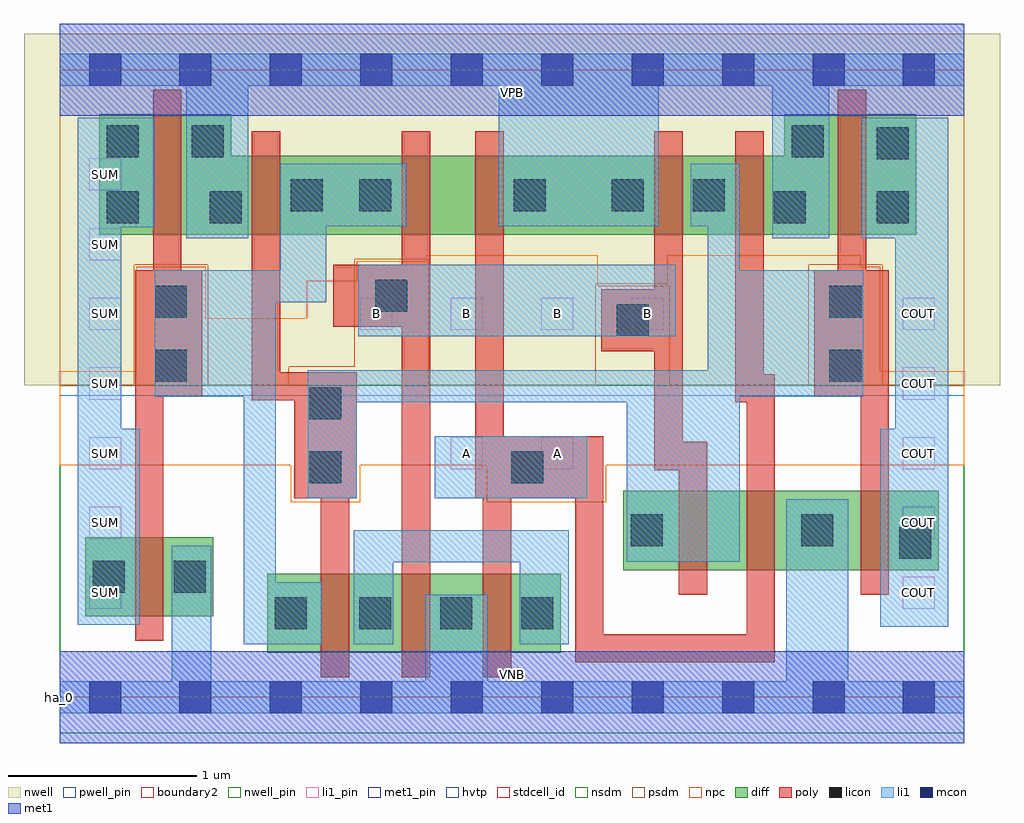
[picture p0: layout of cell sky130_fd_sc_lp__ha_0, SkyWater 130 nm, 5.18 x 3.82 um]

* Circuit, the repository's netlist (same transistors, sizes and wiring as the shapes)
* Copyright 2020 The SkyWater PDK Authors
*
* Licensed under the Apache License, Version 2.0 (the "License");
* you may not use this file except in compliance with the License.
* You may obtain a copy of the License at
*
*     https://www.apache.org/licenses/LICENSE-2.0
*
* Unless required by applicable law or agreed to in writing, software
* distributed under the License is distributed on an "AS IS" BASIS,
* WITHOUT WARRANTIES OR CONDITIONS OF ANY KIND, either express or implied.
* See the License for the specific language governing permissions and
* limitations under the License.
*
* SPDX-License-Identifier: Apache-2.0

.SUBCKT sky130_fd_sc_lp__ha_0 A B VGND VNB VPB VPWR COUT SUM
*.PININFO A:I B:I VGND:I VNB:I VPB:I VPWR:I COUT:O SUM:O
MMIN2 COUT majb VGND VNB sky130_fd_pr__nfet_01v8 m=1 w=0.42U l=0.15U mult=1 sa=0.265
+ sb=0.265 sd=0.28 area=0.063 perim=1.14
MMIN3 SUM sumb VGND VNB sky130_fd_pr__nfet_01v8 m=1 w=0.42U l=0.15U mult=1 sa=0.265
+ sb=0.265 sd=0.28 area=0.063 perim=1.14
MMNnand0 VGND A sndNA VNB sky130_fd_pr__nfet_01v8 m=1 w=0.42U l=0.15U mult=1 sa=0.265
+ sb=0.265 sd=0.28 area=0.063 perim=1.14
MMNnand1 sndNA B majb VNB sky130_fd_pr__nfet_01v8 m=1 w=0.42U l=0.15U mult=1 sa=0.265
+ sb=0.265 sd=0.28 area=0.063 perim=1.14
MMNs1 sumb majb nint1 VNB sky130_fd_pr__nfet_01v8 m=1 w=0.42U l=0.15U mult=1 sa=0.265
+ sb=0.265 sd=0.28 area=0.063 perim=1.14
MMNs20 VGND A nint1 VNB sky130_fd_pr__nfet_01v8 m=1 w=0.42U l=0.15U mult=1 sa=0.265
+ sb=0.265 sd=0.28 area=0.063 perim=1.14
MMNs21 VGND B nint1 VNB sky130_fd_pr__nfet_01v8 m=1 w=0.42U l=0.15U mult=1 sa=0.265
+ sb=0.265 sd=0.28 area=0.063 perim=1.14
MMIP2 COUT majb VPWR VPB sky130_fd_pr__pfet_01v8_hvt m=1 w=0.64U l=0.15U mult=1
+ sa=0.265 sb=0.265 sd=0.28 area=0.063 perim=1.14
MMIP3 SUM sumb VPWR VPB sky130_fd_pr__pfet_01v8_hvt m=1 w=0.64U l=0.15U mult=1
+ sa=0.265 sb=0.265 sd=0.28 area=0.063 perim=1.14
MMPnand0 majb A VPWR VPB sky130_fd_pr__pfet_01v8_hvt m=1 w=0.42U l=0.15U mult=1
+ sa=0.265 sb=0.265 sd=0.28 area=0.063 perim=1.14
MMPnand1 majb B VPWR VPB sky130_fd_pr__pfet_01v8_hvt m=1 w=0.42U l=0.15U mult=1
+ sa=0.265 sb=0.265 sd=0.28 area=0.063 perim=1.14
MMPs1 VPWR majb sumb VPB sky130_fd_pr__pfet_01v8_hvt m=1 w=0.42U l=0.15U mult=1
+ sa=0.265 sb=0.265 sd=0.28 area=0.063 perim=1.14
MMPs20 VPWR A sndPA VPB sky130_fd_pr__pfet_01v8_hvt m=1 w=0.42U l=0.15U mult=1
+ sa=0.265 sb=0.265 sd=0.28 area=0.063 perim=1.14
MMPs21 sndPA B sumb VPB sky130_fd_pr__pfet_01v8_hvt m=1 w=0.42U l=0.15U mult=1
+ sa=0.265 sb=0.265 sd=0.28 area=0.063 perim=1.14
.ENDS sky130_fd_sc_lp__ha_0

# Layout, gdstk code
import gdstk
lib = gdstk.Library(unit=1e-6, precision=1e-09)
def R(c, l, rs):  # rectangles x0, y0, x1, y1
    for r in rs: c.add(gdstk.rectangle(r[:2], r[2:], *l))
def A(c, l, x, y, w, h, nx, ny, dx, dy):  # array of equal rectangles
    R(c, l, [(x+i*dx, y+j*dy, x+i*dx+w, y+j*dy+h) for i in range(nx) for j in range(ny)])
def P(c, l, *ps):  # polygons
    for p in ps: c.add(gdstk.Polygon(p, *l))
nwell_pin = (64, 16)
nwell = (64, 20)
diff = (65, 20)
poly = (66, 20)
licon = (66, 44)
li1_pin = (67, 16)
li1 = (67, 20)
mcon = (67, 44)
met1_pin = (68, 16)
met1 = (68, 20)
hvtp = (78, 44)
stdcell_id = (81, 4)
nsdm = (93, 44)
psdm = (94, 20)
npc = (95, 20)
pwell_pin = (122, 16)
boundary2 = (236, 0)

sky130_fd_sc_lp__ha_0 = lib.new_cell('sky130_fd_sc_lp__ha_0')
R(sky130_fd_sc_lp__ha_0, nwell_pin, [(0,3.085,4.8,3.33)])
R(sky130_fd_sc_lp__ha_0, nwell, [(-0.19,1.655,4.99,3.52)])
R(sky130_fd_sc_lp__ha_0, diff, [(1.1,0.235,2.66,0.655), (0.135,0.43,0.815,0.85), (2.99,0.675,4.665,1.095)])
P(sky130_fd_sc_lp__ha_0, diff, [(4.545,3.095),(3.845,3.095),(3.845,2.875),(0.91,2.875),(0.91,3.095),(0.21,3.095),(0.21,2.455),(4.545,2.455)])
R(sky130_fd_sc_lp__ha_0, poly, [(1.815,2.295,1.965,3.005)])
P(sky130_fd_sc_lp__ha_0, poly, [(0.755,2.265),(0.645,2.265),(0.645,3.225),(0.495,3.225),(0.495,2.265),(0.4,2.265),(0.4,0.3),(0.55,0.3),(0.55,1.595),(0.755,1.595)],
  [(1.575,1.725),(1.17,1.725),(1.17,3.005),(1.02,3.005),(1.02,1.575),(1.245,1.575),(1.245,1.055),(1.385,1.055),(1.385,0.105),(1.535,0.105),(1.535,1.055),(1.575,1.055)],
  [(1.965,2.295),(1.45,2.295),(1.45,1.965),(1.815,1.965),(1.815,0.105),(1.965,0.105)],
  [(3.435,1.355),(3.305,1.355),(3.305,3.005),(3.155,3.005),(3.155,2.165),(2.875,2.165),(2.875,1.835),(3.155,1.835),(3.155,1.205),(3.285,1.205),(3.285,0.545),(3.435,0.545)],
  [(3.795,1.715),(3.735,1.715),(3.735,3.005),(3.585,3.005),(3.585,1.565),(3.645,1.565),(3.645,0.335),(2.885,0.335),(2.885,1.385),(2.355,1.385),(2.355,3.005),(2.205,3.005),(2.205,1.055),(2.245,1.055),(2.245,0.105),(2.395,0.105),(2.395,1.055),(2.735,1.055),(2.735,0.185),(3.795,0.185)],
  [(4.4,2.265),(4.28,2.265),(4.28,3.225),(4.13,3.225),(4.13,2.265),(4.005,2.265),(4.005,1.595),(4.25,1.595),(4.25,0.545),(4.4,0.545)])
A(sky130_fd_sc_lp__ha_0, licon, 1.59, 0.36, 0.17, 0.17, 3, 1, 0.43, 0)
R(sky130_fd_sc_lp__ha_0, licon, [(1.14,0.36,1.31,0.53), (0.175,0.555,0.345,0.725), (0.605,0.555,0.775,0.725), (4.455,0.735,4.625,0.905), (3.03,0.8,3.2,0.97), (3.935,0.8,4.105,0.97), (1.325,1.135,1.495,1.305), (2.395,1.135,2.565,1.305), (1.325,1.475,1.495,1.645), (0.505,1.675,0.675,1.845), (4.085,1.675,4.255,1.845), (2.955,1.915,3.125,2.085), (0.505,2.015,0.675,2.185), (4.085,2.015,4.255,2.185), (1.675,2.045,1.845,2.215), (0.25,2.515,0.42,2.685), (0.795,2.515,0.965,2.685), (3.79,2.515,3.96,2.685), (4.335,2.515,4.505,2.685), (1.225,2.58,1.395,2.75), (1.59,2.58,1.76,2.75), (2.41,2.58,2.58,2.75), (2.93,2.58,3.1,2.75), (3.36,2.58,3.53,2.75), (4.335,2.855,4.505,3.025), (0.25,2.865,0.42,3.035), (0.7,2.865,0.87,3.035), (3.885,2.865,4.055,3.035)])
A(sky130_fd_sc_lp__ha_0, li1_pin, 0.155, 0.47, 0.17, 0.17, 1, 7, 0, 0.37)
A(sky130_fd_sc_lp__ha_0, li1_pin, 4.475, 0.47, 0.17, 0.17, 1, 5, 0, 0.37)
A(sky130_fd_sc_lp__ha_0, li1_pin, 1.595, 1.95, 0.17, 0.17, 4, 1, 0.48, 0)
R(sky130_fd_sc_lp__ha_0, li1_pin, [(2.075,1.21,2.245,1.38), (2.555,1.21,2.725,1.38)])
R(sky130_fd_sc_lp__ha_0, li1, [(1.99,1.055,2.8,1.385), (1.585,1.915,3.27,2.295)])
P(sky130_fd_sc_lp__ha_0, li1, [(3.78,2.435),(3.78,3.245),(3.18,3.245),(3.18,2.5),(2.33,2.5),(2.33,3.245),(1,3.245),(1,2.435),(0.67,2.435),(0.67,3.245),(0,3.245),(0,3.415),(4.8,3.415),(4.8,3.245),(4.085,3.245),(4.085,2.435)],
  [(1.94,0.085),(1.94,0.545),(2.27,0.545),(2.27,0.085),(3.855,0.085),(3.855,1.05),(4.185,1.05),(4.185,0.085),(4.8,0.085),(4.8,-0.085),(0,-0.085),(0,0.085),(0.595,0.085),(0.595,0.805),(0.805,0.805),(0.805,0.085)],
  [(3.44,1.735),(3.44,2.5),(3.35,2.5),(3.35,2.83),(3.61,2.83),(3.61,2.265),(4.265,2.265),(4.265,1.595),(3.61,1.595),(3.61,0.72),(3.01,0.72),(3.01,1.565),(1.575,1.565),(1.575,1.055),(1.315,1.055),(1.315,1.735)],
  [(2.7,0.885),(2.7,0.28),(2.44,0.28),(2.44,0.715),(1.77,0.715),(1.77,0.28),(1.56,0.28),(1.56,0.885)],
  [(1.84,2.83),(1.17,2.83),(1.17,2.265),(0.505,2.265),(0.505,1.595),(0.975,1.595),(0.975,0.28),(1.39,0.28),(1.39,0.61),(1.145,0.61),(1.145,2.095),(1.415,2.095),(1.415,2.5),(1.84,2.5)],
  [(0.095,0.385),(0.095,3.075),(0.5,3.075),(0.5,2.495),(0.325,2.495),(0.325,1.425),(0.425,1.425),(0.425,0.385)],
  [(4.715,3.075),(4.255,3.075),(4.255,2.435),(4.435,2.435),(4.435,1.425),(4.355,1.425),(4.355,0.375),(4.715,0.375)])
A(sky130_fd_sc_lp__ha_0, mcon, 0.155, -0.085, 0.17, 0.17, 10, 2, 0.48, 3.33)
R(sky130_fd_sc_lp__ha_0, met1_pin, [(0,0,4.8,0.245), (0,3.085,4.8,3.33)])
R(sky130_fd_sc_lp__ha_0, met1, [(0,-0.245,4.8,0.245), (0,3.085,4.8,3.575)])
R(sky130_fd_sc_lp__ha_0, hvtp, [(0,1.6,4.8,3.33)])
R(sky130_fd_sc_lp__ha_0, stdcell_id, [(0,0,4.8,3.33)])
R(sky130_fd_sc_lp__ha_0, nsdm, [(0,-0.19,4.8,1.655)])
P(sky130_fd_sc_lp__ha_0, psdm, [(4.8,3.52),(0,3.52),(0,1.655),(0.395,1.655),(0.395,2.295),(0.785,2.295),(0.785,1.655),(1.215,1.655),(1.215,1.755),(1.565,1.755),(1.565,2.325),(1.955,2.325),(1.955,1.655),(2.845,1.655),(2.845,2.195),(3.235,2.195),(3.235,1.655),(3.975,1.655),(3.975,2.295),(4.365,2.295),(4.365,1.655),(4.8,1.655)])
P(sky130_fd_sc_lp__ha_0, npc, [(4.8,1.73),(4.355,1.73),(4.355,2.285),(4.25,2.285),(4.25,2.345),(3.225,2.345),(3.225,2.185),(2.855,2.185),(2.855,2.345),(1.945,2.345),(1.945,2.315),(1.575,2.315),(1.575,2.21),(1.31,2.21),(1.31,2.01),(0.775,2.01),(0.775,2.285),(0.405,2.285),(0.405,1.73),(0,1.73),(0,1.23),(1.225,1.23),(1.225,1.035),(1.595,1.035),(1.595,1.23),(2.265,1.23),(2.265,1.035),(2.9,1.035),(2.9,1.23),(4.8,1.23)])
R(sky130_fd_sc_lp__ha_0, pwell_pin, [(0,0,4.8,0.245)])
R(sky130_fd_sc_lp__ha_0, boundary2, [(0,0,4.8,3.33)])
sky130_fd_sc_lp__ha_0.add(gdstk.Label('VNB', (2.4,0.123), layer=64, texttype=59))
sky130_fd_sc_lp__ha_0.add(gdstk.Label('VPB', (2.4,3.208), layer=64, texttype=5))
sky130_fd_sc_lp__ha_0.add(gdstk.Label('ha_0', (0,0), layer=83, texttype=44))
sky130_fd_sc_lp__ha_0.add(gdstk.Label('VPWR', (2.4,3.208), layer=68, texttype=5))
sky130_fd_sc_lp__ha_0.add(gdstk.Label('VGND', (2.4,0.123), layer=68, texttype=5))
sky130_fd_sc_lp__ha_0.add(gdstk.Label('A', (2.64,1.295), layer=67, texttype=5))
sky130_fd_sc_lp__ha_0.add(gdstk.Label('COUT', (4.56,0.555), layer=67, texttype=5))
sky130_fd_sc_lp__ha_0.add(gdstk.Label('COUT', (4.56,0.925), layer=67, texttype=5))
sky130_fd_sc_lp__ha_0.add(gdstk.Label('COUT', (4.56,1.295), layer=67, texttype=5))
sky130_fd_sc_lp__ha_0.add(gdstk.Label('COUT', (4.56,1.665), layer=67, texttype=5))
sky130_fd_sc_lp__ha_0.add(gdstk.Label('COUT', (4.56,2.035), layer=67, texttype=5))
sky130_fd_sc_lp__ha_0.add(gdstk.Label('SUM', (0.24,0.555), layer=67, texttype=5))
sky130_fd_sc_lp__ha_0.add(gdstk.Label('SUM', (0.24,0.925), layer=67, texttype=5))
sky130_fd_sc_lp__ha_0.add(gdstk.Label('SUM', (0.24,1.295), layer=67, texttype=5))
sky130_fd_sc_lp__ha_0.add(gdstk.Label('SUM', (0.24,1.665), layer=67, texttype=5))
sky130_fd_sc_lp__ha_0.add(gdstk.Label('SUM', (0.24,2.035), layer=67, texttype=5))
sky130_fd_sc_lp__ha_0.add(gdstk.Label('SUM', (0.24,2.405), layer=67, texttype=5))
sky130_fd_sc_lp__ha_0.add(gdstk.Label('SUM', (0.24,2.775), layer=67, texttype=5))
sky130_fd_sc_lp__ha_0.add(gdstk.Label('B', (1.68,2.035), layer=67, texttype=5))
sky130_fd_sc_lp__ha_0.add(gdstk.Label('B', (2.16,2.035), layer=67, texttype=5))
sky130_fd_sc_lp__ha_0.add(gdstk.Label('B', (2.64,2.035), layer=67, texttype=5))
sky130_fd_sc_lp__ha_0.add(gdstk.Label('B', (3.12,2.035), layer=67, texttype=5))
sky130_fd_sc_lp__ha_0.add(gdstk.Label('A', (2.16,1.295), layer=67, texttype=5))

lib.write_gds('sky130_fd_sc_lp__ha_0.gds')
